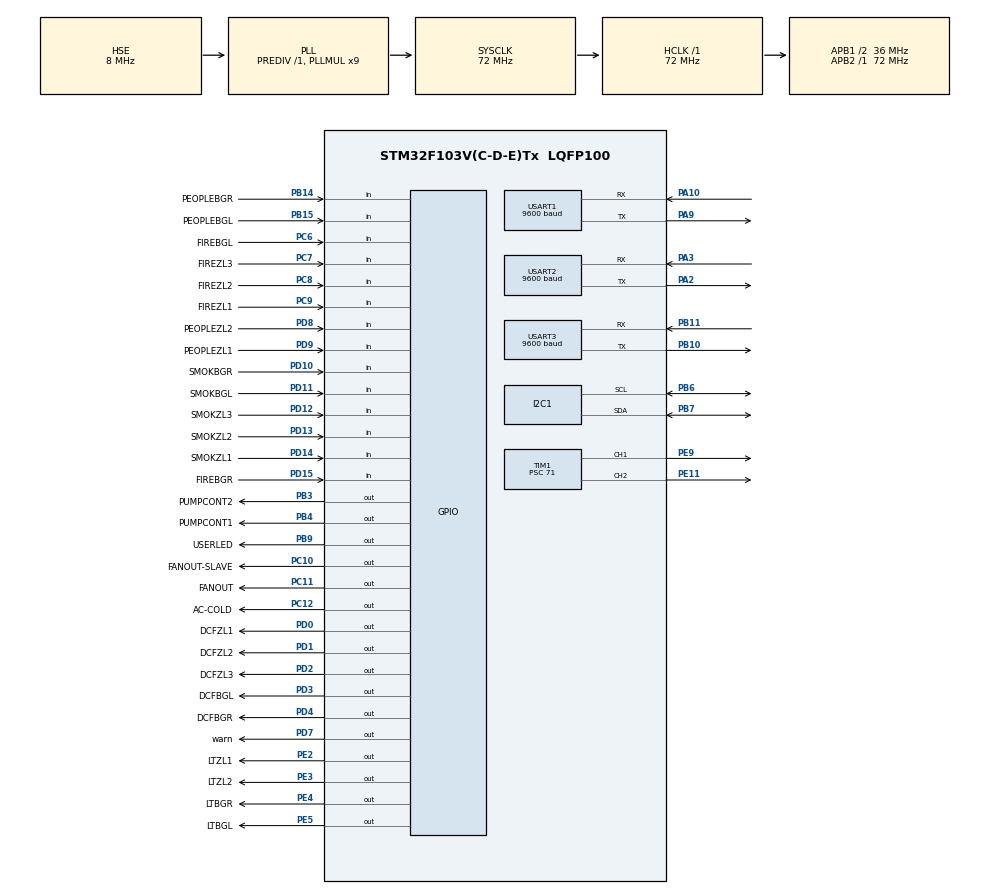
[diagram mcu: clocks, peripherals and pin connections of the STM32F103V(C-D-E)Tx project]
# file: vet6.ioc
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Dma.Request0=USART1_RX
Dma.Request1=USART1_TX
Dma.Request2=USART2_RX
Dma.Request3=USART2_TX
Dma.USART1_RX.0.Direction=DMA_PERIPH_TO_MEMORY
Dma.USART1_RX.0.Instance=DMA1_Channel5
Dma.USART1_RX.0.MemDataAlignment=DMA_MDATAALIGN_BYTE
Dma.USART1_RX.0.MemInc=DMA_MINC_ENABLE
Dma.USART1_RX.0.Mode=DMA_CIRCULAR
Dma.USART1_RX.0.PeriphDataAlignment=DMA_PDATAALIGN_BYTE
Dma.USART1_RX.0.PeriphInc=DMA_PINC_DISABLE
Dma.USART1_RX.0.Priority=DMA_PRIORITY_LOW
Dma.USART1_TX.1.Direction=DMA_MEMORY_TO_PERIPH
Dma.USART1_TX.1.Instance=DMA1_Channel4
Dma.USART1_TX.1.MemDataAlignment=DMA_MDATAALIGN_BYTE
Dma.USART1_TX.1.MemInc=DMA_MINC_ENABLE
Dma.USART1_TX.1.Mode=DMA_NORMAL
Dma.USART1_TX.1.PeriphDataAlignment=DMA_PDATAALIGN_BYTE
Dma.USART1_TX.1.PeriphInc=DMA_PINC_DISABLE
Dma.USART1_TX.1.Priority=DMA_PRIORITY_LOW
Dma.USART2_RX.2.Direction=DMA_PERIPH_TO_MEMORY
Dma.USART2_RX.2.Instance=DMA1_Channel6
Dma.USART2_RX.2.MemDataAlignment=DMA_MDATAALIGN_BYTE
Dma.USART2_RX.2.MemInc=DMA_MINC_ENABLE
Dma.USART2_RX.2.Mode=DMA_CIRCULAR
Dma.USART2_RX.2.PeriphDataAlignment=DMA_PDATAALIGN_BYTE
Dma.USART2_RX.2.PeriphInc=DMA_PINC_DISABLE
Dma.USART2_RX.2.Priority=DMA_PRIORITY_LOW
Dma.USART2_TX.3.Direction=DMA_MEMORY_TO_PERIPH
Dma.USART2_TX.3.Instance=DMA1_Channel7
Dma.USART2_TX.3.MemDataAlignment=DMA_MDATAALIGN_BYTE
Dma.USART2_TX.3.MemInc=DMA_MINC_ENABLE
Dma.USART2_TX.3.Mode=DMA_NORMAL
Dma.USART2_TX.3.PeriphDataAlignment=DMA_PDATAALIGN_BYTE
Dma.USART2_TX.3.PeriphInc=DMA_PINC_DISABLE
Dma.USART2_TX.3.Priority=DMA_PRIORITY_LOW
Mcu.Family=STM32F1
Mcu.Name=STM32F103V(C-D-E)Tx
Mcu.Package=LQFP100
NVIC.DMA1_Channel4_IRQn=true\:0\:0\:false\:false\:true\:false\:true\:true
NVIC.DMA1_Channel5_IRQn=true\:0\:0\:false\:false\:true\:false\:true\:true
NVIC.DMA1_Channel6_IRQn=true\:0\:0\:false\:false\:true\:false\:true\:true
NVIC.DMA1_Channel7_IRQn=true\:0\:0\:false\:false\:true\:false\:true\:true
NVIC.PriorityGroup=NVIC_PRIORITYGROUP_4
NVIC.USART1_IRQn=true\:0\:0\:false\:false\:true\:true\:true\:true
NVIC.USART2_IRQn=true\:0\:0\:false\:false\:true\:true\:true\:true
OSC_IN.Mode=HSE-External-Oscillator
OSC_IN.Signal=RCC_OSC_IN
OSC_OUT.Mode=HSE-External-Oscillator
OSC_OUT.Signal=RCC_OSC_OUT
PA10.Mode=Asynchronous
PA10.Signal=USART1_RX
PA13.Mode=Serial_Wire
PA13.Signal=SYS_JTMS-SWDIO
PA14.Mode=Serial_Wire
PA14.Signal=SYS_JTCK-SWCLK
PA2.Mode=Asynchronous
PA2.Signal=USART2_TX
PA3.Mode=Asynchronous
PA3.Signal=USART2_RX
PA9.Mode=Asynchronous
PA9.Signal=USART1_TX
PB10.Mode=Asynchronous
PB10.Signal=USART3_TX
PB11.Mode=Asynchronous
PB11.Signal=USART3_RX
PB14.GPIO_Label=PEOPLEBGR
PB14.GPIO_PuPd=GPIO_PULLDOWN
PB14.Signal=GPIO_Input
PB15.GPIO_Label=PEOPLEBGL
PB15.GPIO_PuPd=GPIO_PULLDOWN
PB15.Signal=GPIO_Input
PB3.GPIO_Label=PUMPCONT2
PB3.Signal=GPIO_Output
PB4.GPIO_Label=PUMPCONT1
PB4.Signal=GPIO_Output
PB6.Mode=I2C
PB6.Signal=I2C1_SCL
PB7.Mode=I2C
PB7.Signal=I2C1_SDA
PB9.GPIO_Label=USERLED
PB9.Signal=GPIO_Output
PC10.GPIO_Label=FANOUT-SLAVE
PC10.Signal=GPIO_Output
PC11.GPIO_Label=FANOUT
PC11.Signal=GPIO_Output
PC12.GPIO_Label=AC-COLD
PC12.Signal=GPIO_Output
PC6.GPIO_Label=FIREBGL
PC6.GPIO_PuPd=GPIO_PULLUP
PC6.Signal=GPIO_Input
PC7.GPIO_Label=FIREZL3
PC7.GPIO_PuPd=GPIO_PULLUP
PC7.Signal=GPIO_Input
PC8.GPIO_Label=FIREZL2
PC8.GPIO_PuPd=GPIO_PULLUP
PC8.Signal=GPIO_Input
PC9.GPIO_Label=FIREZL1
PC9.GPIO_PuPd=GPIO_PULLUP
PC9.Signal=GPIO_Input
PD0.GPIO_Label=DCFZL1
PD0.Signal=GPIO_Output
PD1.GPIO_Label=DCFZL2
PD1.Signal=GPIO_Output
PD10.GPIO_Label=SMOKBGR
PD10.GPIO_PuPd=GPIO_PULLUP
PD10.Signal=GPIO_Input
PD11.GPIO_Label=SMOKBGL
PD11.GPIO_PuPd=GPIO_PULLUP
PD11.Signal=GPIO_Input
PD12.GPIO_Label=SMOKZL3
PD12.GPIO_PuPd=GPIO_PULLUP
PD12.Signal=GPIO_Input
PD13.GPIO_Label=SMOKZL2
PD13.GPIO_PuPd=GPIO_PULLUP
PD13.Signal=GPIO_Input
PD14.GPIO_Label=SMOKZL1
PD14.GPIO_PuPd=GPIO_PULLUP
PD14.Signal=GPIO_Input
PD15.GPIO_Label=FIREBGR
PD15.GPIO_PuPd=GPIO_PULLUP
PD15.Signal=GPIO_Input
PD2.GPIO_Label=DCFZL3
PD2.Signal=GPIO_Output
PD3.GPIO_Label=DCFBGL
PD3.Signal=GPIO_Output
PD4.GPIO_Label=DCFBGR
PD4.Signal=GPIO_Output
PD7.GPIO_Label=warn
PD7.Signal=GPIO_Output
PD8.GPIO_Label=PEOPLEZL2
PD8.GPIO_PuPd=GPIO_PULLDOWN
PD8.Signal=GPIO_Input
PD9.GPIO_Label=PEOPLEZL1
PD9.GPIO_PuPd=GPIO_PULLDOWN
PD9.Signal=GPIO_Input
PE11.Signal=S_TIM1_CH2
PE2.GPIO_Label=LTZL1
PE2.Signal=GPIO_Output
PE3.GPIO_Label=LTZL2
PE3.Signal=GPIO_Output
PE4.GPIO_Label=LTBGR
PE4.Signal=GPIO_Output
PE5.GPIO_Label=LTBGL
PE5.Signal=GPIO_Output
PE9.Signal=S_TIM1_CH1
ProjectManager.HeapSize=0x200
ProjectManager.StackSize=0x400
ProjectManager.TargetToolchain=MDK-ARM V5
RCC.AHBFreq_Value=72000000
RCC.APB1CLKDivider=RCC_HCLK_DIV2
RCC.APB1Freq_Value=36000000
RCC.APB1TimFreq_Value=72000000
RCC.APB2Freq_Value=72000000
RCC.APB2TimFreq_Value=72000000
RCC.HCLKFreq_Value=72000000
RCC.PLLMUL=RCC_PLL_MUL9
RCC.PLLSourceVirtual=RCC_PLLSOURCE_HSE
RCC.SYSCLKFreq_VALUE=72000000
RCC.SYSCLKSource=RCC_SYSCLKSOURCE_PLLCLK
RCC.USBFreq_Value=72000000
SH.S_TIM1_CH1.0=TIM1_CH1,PWM Generation1 CH1
SH.S_TIM1_CH2.0=TIM1_CH2,PWM Generation2 CH2
TIM1.AutoReloadPreload=TIM_AUTORELOAD_PRELOAD_ENABLE
TIM1.Channel-PWM\ Generation1\ CH1=TIM_CHANNEL_1
TIM1.Channel-PWM\ Generation2\ CH2=TIM_CHANNEL_2
TIM1.Period=1000
TIM1.Prescaler=71
TIM1.Pulse-PWM\ Generation1\ CH1=500
TIM1.Pulse-PWM\ Generation2\ CH2=500
TIM2.Prescaler=71
USART1.BaudRate=9600
USART1.VirtualMode=VM_ASYNC
USART2.BaudRate=9600
USART2.VirtualMode=VM_ASYNC
USART3.BaudRate=9600
USART3.VirtualMode=VM_ASYNC
VP_TIM1_VS_ClockSourceINT.Mode=Internal
VP_TIM2_VS_ClockSourceINT.Mode=Internal
board=custom

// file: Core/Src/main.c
/* USER CODE BEGIN Header */
/**盗版的人我操你妈逼，剽窃者死爹死妈，你妈炸了，祝你延毕死全家，我操你妈的。傻逼
 ******************************************************************************
 * @file           : main.c
 * @brief          : Main program body
 ******************************************************************************
 * @attention
 *
 * Copyright (c) 2024 STMicroelectronics.
 * All rights reserved.
 * daobanwocaonima
 * The ownership of the program belongs to Song Nan, please stop your piracy.
 * Piracy is not a good death, dead parents die, dead whole family.
 * Some secret, equivalent to a watermark.
 * https://pan.baidu.com/s/1uRYBI3bAJ5pFQhadPV13AQ?pswd=8fsg.
 ******************************************************************************
 */
/* USER CODE END Header */
#include "main.h"
#include "dma.h"
#include "i2c.h"
#include "tim.h"
#include "usart.h"
#include "gpio.h"

/* USER CODE BEGIN Includes */
#include <security.h>
#include <youseeme.mp3>
#include <lsy.h>
#include <lisiyu.iloveyou>
#define ADDR_24LCxx_Write 0xA0
#define ADDR_24LCxx_Read 0xA1
#define BufferSize 256
uint8_t WriteBuffer[BufferSize], ReadBuffer[BufferSize];
uint16_t i;
/* USER CODE END Includes */

/* USER CODE BEGIN PTD */
unsigned int temp, humi, tempout, humiout; // 室内外温湿度
long numctrl, numact, numeco, numwhether, numwind1, numwind2;
char *leftover, *leftover2, *leftover3, *leftover4;
// 控制 空调   ， 小时（用于节能）,  1天气+1湿度+2天气+2湿度   1风向+风速
char *leftover5, *leftover6, *leftover7, *leftover8, *leftover9, *leftover10, *leftover11, *leftover12;
//  2风向+风速         1低温   ,    1高温，     2低温      2高温      wifi状态    点灯科技状态   时间
char *slpover, *slpover2; // 太阳能没啥说的
char showtime[16];
u8 fireloca;                                                      // 火警置位，用于灯光控制
/*000*/ u8 firetest1, firetest2, firetest3, firetest4, firetest5; //
// 用于如果有着火就置为1，程序从上往下，当全部为0时给关闭提示，此时将上面fireloca归0，关闭火灾指示
u8 ledtwinkle;
int pumpdelay = 10;
int ToBlinkerWeCom = 0; // 发给点灯科技、巴法云、企业微信的数据量信息（780e也通过这个数据流）数据信息介绍在下面
/////////////发送的数据信息，格式为0 0 0 0 0 0 0 0 0
///////////////从低位到高位分别为走廊1，走廊2，走廊3，办公1，办公2，太阳能。前三位如果是119，代表报警。
///////////////暂时先这么用，如果后期有其他想法再说，目前打算在里面加一个发电量显示，实时显示电能质量。
///////////////////xxxxx   1   1   1   1   1   1
///////////////////发电量
//////////////（已实现esp接收字符串可以使用printf
///////////////例子：00100100 111，前六位是ToBlinkerWeCom,加上“ ”后面是发电量）
char sendcontrol[13];
int solarpowernum; // 太阳能发电量最高999
double slpshow;    // （太阳能显示，需要将整数转换成小数）
int solarwork;     // 太阳能工作指示
int sendcount;     // 延时发送专用
int whtese;        // 天气测试
int oledroll;      // 显示平滚动翻页
int window, wifiti, blinker, hand;
int ii;
/* USER CODE END PTD */

/* USER CODE BEGIN PD */
typedef struct
{
  int zuigaowendu;
  int zuidiwendu;
  int shidu;
  int tianqitubiao;
  int fengjiaodu;
  int dengji;

} tianqixinxi; // 高温最低温和湿度的结构体

tianqixinxi day1, day2;
/* USER CODE END PD */

/* USER CODE BEGIN PM */
#define BUFFERSIZE 80            // 串口1可以接收的最大字符个数
uint8_t ReceiveBuff[BUFFERSIZE]; // 串口1接收缓冲区
uint8_t Rx_len;                  // 串口1接收完成中断标志，接收到字符长度
extern DMA_HandleTypeDef hdma_usart1_rx;

#define BUFFERSIZE2 80             // 串口2可以接收的最大字符个数
uint8_t ReceiveBuff2[BUFFERSIZE2]; // 串口2接收缓冲区
uint8_t Rx_len2;                   // 串口2接收完成中断标志，接收到字符长度
extern DMA_HandleTypeDef hdma_usart2_rx;
#ifndef youseeme
#error "必要的注释被删除了，程序无法编译。请不要盗版程序"
#endif

/* USER CODE END PM */

void SystemClock_Config(void);

/* USER CODE BEGIN 0 */
void workshow(void) // 工作显示
{
  if (oledroll < 15) // 第一页显示连接状态
  {
    if (window == 0)
    {
      OLED_Clear();
      window = 1;
    }
    showwifiwr(0, wifiti);
    showblinker(2, blinker);
    OLED_ShowCHinese(0, 4, 79);  // 太
    OLED_ShowCHinese(16, 4, 80); // 阳
    OLED_ShowCHinese(32, 4, 81); // 能
    OLED_ShowCHinese(48, 4, 85); // ：
    if (solarwork == 0)
    {
      OLED_ShowString(64, 4, "error", 16);
    }
    else if (solarwork == 1)
    {
      OLED_ShowString(64, 4, "close", 16);
    }
    else if (solarwork == 2)
    {
      OLED_ShowString(64, 4, "  ok ", 16);
    }
    OLED_ShowCHinese(0, 6, 82);
    OLED_ShowCHinese(16, 6, 83);
    OLED_ShowCHinese(32, 6, 84);
    OLED_Show6float(48, 6, slpshow, 16);//发电量
    //      OLED_ShowCHinese (0,6,99);
    //      OLED_ShowCHinese (16,6,100);
    //      OLED_ShowCHinese (32,6,101);
    //      OLED_ShowCHinese (48,6,102);
    //      OLED_ShowCHinese (64,6,103);
    //      OLED_ShowCHinese (80,6,104);
    //      OLED_ShowCHinese (96,6,105);
  }
  if (oledroll >= 15 && oledroll < 30) // 第二页显示今天天气预报
  {
    if (window == 1)
    {
      OLED_Clear();
      window = 0;
    }
    OLED_ShowString(0, 0, (unsigned char *)shandiaokongge(showtime), 16);
    OLED_ShowCHinese(0, 2, 86);
    OLED_ShowCHinese(16, 2, 88);
    OLED_ShowCHinese(32, 2, 85);
    WhetherReport(48, 2, day1.tianqitubiao);
    OLED_ShowCHinese(0, 4, 89);
    OLED_ShowCHinese(16, 4, 98);
    OLED_ShownNum(32, 4, day1.zuidiwendu, 2, 16);
    OLED_ShowChar(56, 4, '-', 16);
    OLED_ShownNum(64, 4, day1.zuigaowendu, 2, 16);
    OLED_ShowChar(88, 4, 'C', 16);
    Winddirection(0, 6, day1.fengjiaodu);
    OLED_ShowNum(48, 6, day1.dengji, 2, 16);
    OLED_ShowCHinese(64, 6, 95);
  }
  if (oledroll >= 30 && oledroll < 45) // 第三页显示明天天气预报
  {
    if (window == 0)
    {
      OLED_Clear();
      window = 1;
    }
    OLED_ShowString(0, 0, (unsigned char *)shandiaokongge(showtime), 16);
    OLED_ShowCHinese(0, 2, 87);
    OLED_ShowCHinese(16, 2, 88);
    OLED_ShowCHinese(32, 2, 85);
    WhetherReport(48, 2, day2.tianqitubiao);
    OLED_ShowCHinese(0, 4, 89);
    OLED_ShowCHinese(16, 4, 98);
    OLED_ShownNum(32, 4, day2.zuidiwendu, 2, 16);
    OLED_ShowChar(56, 4, '-', 16);
    OLED_ShownNum(64, 4, day2.zuigaowendu, 2, 16);
    OLED_ShowChar(88, 4, 'C', 16);
    Winddirection(0, 6, day2.fengjiaodu);
    OLED_ShowNum(48, 6, day2.dengji, 2, 16);
    OLED_ShowCHinese(64, 6, 95);
  }
  if (oledroll >= 45 && oledroll < 60) // 第四页显示温湿度检测和空调
  {
    if (window == 1)
    {
      OLED_Clear();
      window = 0;
    }
    OLED_ShowString(0, 0, (unsigned char *)shandiaokongge(showtime), 16);
    OLED_ShowCHinese(0, 2, 126);  // 空
    OLED_ShowCHinese(16, 2, 127); // 调
    OLED_ShowCHinese(32, 2, 128); // 温
    OLED_ShowCHinese(48, 2, 129); // 度
    OLED_ShowNum(64, 2, numact, 2, 16);
    OLED_ShowCHinese(0, 4, 122);  // 室
    OLED_ShowCHinese(16, 4, 123); // 内
    OLED_ShowCHinese(32, 4, 98);  // 温
    OLED_ShowCHinese(48, 4, 91);  // 度
    OLED_ShowNum(64, 4, temp, 2, 16);
    OLED_ShowCHinese(80, 4, 90); // 湿
    OLED_ShowCHinese(96, 4, 91); // 度
    OLED_ShowNum(112, 4, humi, 2, 16);
    OLED_ShowCHinese(0, 6, 124);  // 户
    OLED_ShowCHinese(16, 6, 125); // 外
    OLED_ShowCHinese(32, 6, 98);  // 温
    OLED_ShowCHinese(48, 6, 91);  // 度
    OLED_ShowNum(64, 6, tempout, 2, 16);
    OLED_ShowCHinese(80, 6, 90); // 湿
    OLED_ShowCHinese(96, 6, 91); // 度
    OLED_ShowNum(112, 6, humiout, 2, 16);
  }
  if (oledroll >= 60) // 循环清空
  {
    oledroll = 0;
    window = 0;
  }
}
void conversion(void) // 数据读取
{
  DH11_Task();                    // 温湿度传感器室内检测
  DH11_Task2();                   // 户外温湿度传感器
  temp = DH11_data.temp;          // 室内温度
  humi = DH11_data.humidity;      // 室内湿度
  tempout = DH11_data2.temp2;     // 户外温度
  humiout = DH11_data2.humidity2; // 户外湿度
  // long numctrl, numact,numeco,numwhether,numwind,numdw,numgw;
  numctrl = strtoul((const char *)ReceiveBuff, &leftover, 10); // 提取点灯科技控制
  numact = strtoul(leftover, &leftover2, 10);                  // 提取空调控制
  numeco = strtoul(leftover2, &leftover3, 10);                 // 提取小时时间控制（用于灯光定时）
  numwhether = strtoul(leftover3, &leftover4, 10);             // 提取天气数据（今天明天天气+2天湿度）
  numwind1 = strtoul(leftover4, &leftover5, 10);               // 提取风速数据（今天风向等级）
  numwind2 = strtoul(leftover5, &leftover6, 10);               // 提取风速数据（明天风向等级）
  day1.zuidiwendu = strtoul(leftover6, &leftover7, 10);        // 提取今天高温数据
  day1.zuigaowendu = strtoul(leftover7, &leftover8, 10);       // 提取今天低温数据
  day2.zuidiwendu = strtoul(leftover8, &leftover9, 10);        // 提取明天高温数据
  day2.zuigaowendu = strtoul(leftover9, &leftover10, 10);      // 提取明天低温数据
  wifiti = strtoul(leftover10, &leftover11, 10);               // 提取wifi状态
  blinker = strtoul(leftover11, &leftover12, 10);              // 提取点灯科技状态
  //		if(leftover3[strlen(leftover3)-1] == '\n') {
  //				leftover3[strlen(leftover3)-1] = '\0';
  //		}//(删掉末尾\n)
  strncpy(showtime, leftover12, 15); // 时间复制到安全区然后刷新在屏幕上
  // 接收储存和数据读取结束^
  // 开始数据提取,主要将天气预报存放到结构体v
  day1.tianqitubiao = numwhether / 1000000;
  day1.shidu = numwhether / 10000 % 100;
  day2.tianqitubiao = numwhether / 100 % 100;
  day2.shidu = numwhether % 100;
  day1.fengjiaodu = numwind1 / 100;
  day1.dengji = numwind1 % 100;
  day2.fengjiaodu = numwind2 / 100;
  day2.dengji = numwind2 % 100;
  solarwork = strtoul((const char *)ReceiveBuff2, &slpover, 10); // 提取太阳能
  solarpowernum = strtoul(slpover, &slpover2, 10);               // 提取发电量12345678=====1234.5678
  if(solarpowernum>494950000)
  {
    solarpowernum=494950000;//限制，防止溢出
  }
  slpshow = solarpowernum * 1.0000 / 10000;
  //*dma发送的代码发送数据，目前是串口2
  //*例子代码HAL_UART_Transmit_DMA(&huart2, (uint8_t *)ReceiveBuff, sizeof(ReceiveBuff));
  // ToBlinkerWeCom=1236100000;//测试实例126100000为发电量126，太阳能正常，区域正常
  // HAL_UART_Transmit_DMA(&huart2, "HELL0", 6);	//串口发送（串口3连接企业微信）
}
void at24c02test(void) // 存储测试
{
  for (i = 0; i < 256; i++)
    WriteBuffer[i] = 'n'; /* WriteBuffer init */

  printf("\r\n***************I2C Example Z小旋测试*******************************\r\n");
  for (int j = 0; j < 32; j++)
  {
    if (HAL_I2C_Mem_Write(&hi2c1, ADDR_24LCxx_Write, 8 * j, I2C_MEMADD_SIZE_8BIT, WriteBuffer + 8 * j, 8, 1000) == HAL_OK)
    {
      printf("\r\n EEPROM 24C02 Write Test OK \r\n");
      HAL_Delay(20);
    }
    else
    {
      HAL_Delay(20);
      printf("\r\n EEPROM 24C02 Write Test False \r\n");
    }
  }
  /*
  // wrinte date to EEPROM   如果要一次写一个字节，写256次，用这里的代码
  for(i=0;i<BufferSize;i++)
  {
      HAL_I2C_Mem_Write(&hi2c1, ADDR_24LCxx_Write, i, I2C_MEMADD_SIZE_8BIT,&WriteBuffer[i],1，0xff);//使用I2C块读，出错。因此采用此种方式，逐个单字节写入
    HAL_Delay(5);//此处延时必加，与AT24C02写时序有关
  }
  printf("\r\n EEPROM 24C02 Write Test OK \r\n");
  */

  HAL_I2C_Mem_Read(&hi2c1, ADDR_24LCxx_Read, 0, I2C_MEMADD_SIZE_8BIT, ReadBuffer, BufferSize, 0xff);

  for (i = 0; i < 256; i++)
    // printf("0x%02X  ",ReadBuffer[i]);
    printf("%c  ", ReadBuffer[i]);
}
/* USER CODE END 0 */

int main(void)
{

  /* MCU Configuration--------------------------------------------------------*/

  /* Reset of all peripherals, Initializes the Flash interface and the Systick. */
  HAL_Init();

  /* USER CODE BEGIN Init */
  // 测试发送数组uint8_t Senbuff[] = "\r\n**** Serial Output Message by DMA ***\r\n   UART DMA Test \r\n   LI Siyu";
  /* USER CODE END Init */

  /* Configure the system clock */
  SystemClock_Config();

  /* Initialize all configured peripherals */
  MX_GPIO_Init();
  MX_DMA_Init();
  MX_I2C1_Init();
  MX_TIM2_Init();
  MX_USART1_UART_Init();
  MX_USART2_UART_Init();
  MX_USART3_UART_Init();
  MX_TIM1_Init();
  /* USER CODE BEGIN 2 */
  HAL_GPIO_WritePin(GPIOB, GPIO_PIN_9, GPIO_PIN_RESET); // 工作指示灯
  HAL_Delay(3000);
  OLED_Init();
  OLED_Clear();
  // 串口一区域改写
  __HAL_UART_ENABLE_IT(&huart1, UART_IT_IDLE); // 使能串口1 IDLE中断
  /*第二个参数目前为数组 如果为变量需要加取地址符*/
  HAL_UART_Receive_DMA(&huart1, ReceiveBuff, BUFFERSIZE); // 使能接收
  // 串口二区域改写
  __HAL_UART_ENABLE_IT(&huart2, UART_IT_IDLE); // 使能串口1 IDLE中断
  /*第二个参数目前为数组 如果为变量需要加取地址符*/
  HAL_UART_Receive_DMA(&huart2, ReceiveBuff2, BUFFERSIZE2); // 使能接收
  HAL_TIM_PWM_Start(&htim1, TIM_CHANNEL_2);                 // 水泵pwm

  // 打开初始化在这
  initialize();
  for (ii = 0; ii < 20; ii++) // 获取数据稳定
  {
    numctrl = strtoul((const char *)ReceiveBuff, &leftover, 10); // 提取点灯科技控制
    numact = strtoul(leftover, &leftover2, 10);                  // 提取空调控制
    numeco = strtoul(leftover2, &leftover3, 10);                 // 提取小时时间控制（用于灯光定时）
    numwhether = strtoul(leftover3, &leftover4, 10);             // 提取天气数据（今天明天天气+2天湿度）
    numwind1 = strtoul(leftover4, &leftover5, 10);               // 提取风速数据（今天风向等级）
    numwind2 = strtoul(leftover5, &leftover6, 10);               // 提取风速数据（明天风向等级）
    day1.zuidiwendu = strtoul(leftover6, &leftover7, 10);        // 提取今天高温数据
    day1.zuigaowendu = strtoul(leftover7, &leftover8, 10);       // 提取今天低温数据
    day2.zuidiwendu = strtoul(leftover8, &leftover9, 10);        // 提取明天高温数据
    day2.zuigaowendu = strtoul(leftover9, &leftover10, 10);      // 提取明天低温数据
    wifiti = strtoul(leftover10, &leftover11, 10);               // 提取wifi状态
    blinker = strtoul(leftover11, &leftover12, 10);              // 提取点灯科技状态
    HAL_Delay(500);
    DH11_Task();  // 温湿度传感器室内检测
    DH11_Task2(); // 户外温湿度传感器
    OLED_ShowNum(112, 2, ii, 2, 16);
    showwifiwr(4, wifiti);
    showblinker(6, blinker);
  }
  OLED_Clear();
  // at24c02test();
  /* USER CODE END 2 */

  /* Infinite loop */
  /* USER CODE BEGIN WHILE */
  while (1)
  {

    HAL_GPIO_TogglePin(USERLED_GPIO_Port, USERLED_Pin); // 工作指示
    conversion();
    workshow();
    if (temp > numact) //&&tempout>temp)//空调
    {
      HAL_GPIO_WritePin(FANOUT_GPIO_Port, FANOUT_Pin, GPIO_PIN_RESET);
      HAL_GPIO_WritePin(AC_COLD_GPIO_Port, AC_COLD_Pin, GPIO_PIN_RESET);
    }
    else
    {
      HAL_GPIO_WritePin(FANOUT_GPIO_Port, FANOUT_Pin, GPIO_PIN_SET);
      HAL_GPIO_WritePin(AC_COLD_GPIO_Port, AC_COLD_Pin, GPIO_PIN_SET);
    }

    //			solarpowernum++;(先不用了)
    //			if(solarpowernum>999)solarpowernum=999;
    ledtwinkle++;
    sendcount++;
    oledroll++;
#ifndef stcurity
#error "必要的注释被删除了，程序无法编译。请不要盗版程序。"
#endif

    /**
     * 从这里开始到下一个标志，这片区域是关于着火有关的执行程序
     * FIREZL1  火焰检测
     * SMOKZL1  烟雾检测
     * DCFZL1   启动电磁阀
     * 由于程序并行，任意一个着火fireloca会被置为1，将在下一个这种注释的标志处被重置。。。
     */
    if (HAL_GPIO_ReadPin(FIREZL1_GPIO_Port, FIREZL1_Pin) == 0 && HAL_GPIO_ReadPin(SMOKZL1_GPIO_Port, SMOKZL1_Pin) == 0)
    {
      ToBlinkerWeCom = setDigit(ToBlinkerWeCom, 0, 1);
      fireloca = 1;
      HAL_GPIO_WritePin(DCFZL1_GPIO_Port, DCFZL1_Pin, GPIO_PIN_RESET);
      firetest1 = 1;
    } // 走廊1着火双保险,如果触发，置位为1，同时开启对应区域电磁阀
    else
    {
      ToBlinkerWeCom = setDigit(ToBlinkerWeCom, 0, 0);
      HAL_GPIO_WritePin(DCFZL1_GPIO_Port, DCFZL1_Pin, GPIO_PIN_SET);
      firetest1 = 0;
    } // 火灭了，阀门关闭，置位为0

    if (HAL_GPIO_ReadPin(FIREZL2_GPIO_Port, FIREZL2_Pin) == 0 && HAL_GPIO_ReadPin(SMOKZL2_GPIO_Port, SMOKZL2_Pin) == 0)
    {
      ToBlinkerWeCom = setDigit(ToBlinkerWeCom, 1, 1);
      fireloca = 1;
      HAL_GPIO_WritePin(DCFZL2_GPIO_Port, DCFZL2_Pin, GPIO_PIN_RESET);
      firetest2 = 1;
    } // 走廊2着火双保险
    else
    {
      ToBlinkerWeCom = setDigit(ToBlinkerWeCom, 1, 0);
      HAL_GPIO_WritePin(DCFZL2_GPIO_Port, DCFZL2_Pin, GPIO_PIN_SET);
      firetest2 = 0;
    }

    if (HAL_GPIO_ReadPin(FIREZL3_GPIO_Port, FIREZL3_Pin) == 0 && HAL_GPIO_ReadPin(SMOKZL3_GPIO_Port, SMOKZL3_Pin) == 0)
    {
      ToBlinkerWeCom = setDigit(ToBlinkerWeCom, 2, 1);
      fireloca = 1;
      HAL_GPIO_WritePin(DCFZL3_GPIO_Port, DCFZL3_Pin, GPIO_PIN_RESET);
      firetest3 = 1;
    } // 走廊3着火双保险
    else
    {
      ToBlinkerWeCom = setDigit(ToBlinkerWeCom, 2, 0);
      HAL_GPIO_WritePin(DCFZL3_GPIO_Port, DCFZL3_Pin, GPIO_PIN_SET);
      firetest3 = 0;
    }

    if (HAL_GPIO_ReadPin(FIREBGL_GPIO_Port, FIREBGL_Pin) == 0 && HAL_GPIO_ReadPin(SMOKBGL_GPIO_Port, SMOKBGL_Pin) == 0)
    {
      ToBlinkerWeCom = setDigit(ToBlinkerWeCom, 3, 1);
      fireloca = 1;
      HAL_GPIO_WritePin(DCFBGL_GPIO_Port, DCFBGL_Pin, GPIO_PIN_RESET);
      firetest4 = 1;
    } // 办公左着火双保险
    else
    {
      ToBlinkerWeCom = setDigit(ToBlinkerWeCom, 3, 0);
      HAL_GPIO_WritePin(DCFBGL_GPIO_Port, DCFBGL_Pin, GPIO_PIN_SET);
      firetest4 = 0;
    }

    if (HAL_GPIO_ReadPin(FIREBGR_GPIO_Port, FIREBGR_Pin) == 0 && HAL_GPIO_ReadPin(SMOKBGR_GPIO_Port, SMOKBGR_Pin) == 0)
    {
      ToBlinkerWeCom = setDigit(ToBlinkerWeCom, 4, 1);
      fireloca = 1;
      HAL_GPIO_WritePin(DCFBGR_GPIO_Port, DCFBGR_Pin, GPIO_PIN_SET);
      firetest5 = 1;
    } // 办公右着火双保险
    else
    {
      ToBlinkerWeCom = setDigit(ToBlinkerWeCom, 4, 0);
      HAL_GPIO_WritePin(DCFBGR_GPIO_Port, DCFBGR_Pin, GPIO_PIN_RESET);
      firetest5 = 0;
    }
    if(solarwork==0)
    {
      ToBlinkerWeCom = setDigit(ToBlinkerWeCom, 5, 1); //(太阳能备用)
    }
    else
    {
      ToBlinkerWeCom = setDigit(ToBlinkerWeCom, 5, 0); //(太阳能备用)
    }

    /**
     * 从这里开始到下一个标志，这片区域负责将上一片区域的fireloca改为0
     * 效果：USER CODE BEGIN PTD 000处的firetest作用再此
     * 如果全是0代表没有火灾，将fireloca改为0
     *
     */
    if (firetest1 || firetest2 || firetest3 || firetest4 || firetest5)
    {
    }
    else
    {
      fireloca = 0;
    }
    /**
     * 从这里开始到下一个标志，这片区域是关于灯光的控
     * 效果：如果着火，标志位fireloca为1，启动所有灯光，否则执行手动或者safety_light();自动灯光
     *
     *
     */
    if (fireloca == 0 && hand == 0) // 当检测到没有火灾时候，执行正常开关灯流程
    {
      if (numctrl != 0) // 手动控制
      {
        if (numctrl / 10 % 10 == 1)
        {
          HAL_GPIO_WritePin(LTZL1_GPIO_Port, LTZL1_Pin, GPIO_PIN_RESET);
        }
        else
        {
          HAL_GPIO_WritePin(LTZL1_GPIO_Port, LTZL1_Pin, GPIO_PIN_SET);
        } /////////////////////////////////////////////////////////////////
        if (numctrl / 100 % 10 == 1)
        {
          HAL_GPIO_WritePin(LTZL2_GPIO_Port, LTZL2_Pin, GPIO_PIN_RESET);
        }
        else
        {
          HAL_GPIO_WritePin(LTZL2_GPIO_Port, LTZL2_Pin, GPIO_PIN_SET);
        } /////////////////////////////////////////////////////////
        if (numctrl / 1000 % 10 == 1)
        {
          HAL_GPIO_WritePin(LTBGL_GPIO_Port, LTBGL_Pin, GPIO_PIN_RESET);
        }
        else
        {
          HAL_GPIO_WritePin(LTBGL_GPIO_Port, LTBGL_Pin, GPIO_PIN_SET);
        } ////////////////////////////////////////////////////////////////
        if (numctrl / 10000 % 10 == 1)
        {
          HAL_GPIO_WritePin(LTBGR_GPIO_Port, LTBGR_Pin, GPIO_PIN_RESET);
        }
        else
        {
          HAL_GPIO_WritePin(LTBGR_GPIO_Port, LTBGR_Pin, GPIO_PIN_SET);
        }
      }
      else
      {
        safety_light(numeco);
      }                                                          // 自动控制
      HAL_GPIO_WritePin(warn_GPIO_Port, warn_Pin, GPIO_PIN_SET); // （警报关闭）
      pumpdelay = 10;
      HAL_GPIO_WritePin(PUMPCONT1_GPIO_Port, PUMPCONT1_Pin, GPIO_PIN_RESET); // （水泵全关）
      HAL_GPIO_WritePin(PUMPCONT2_GPIO_Port, PUMPCONT2_Pin, GPIO_PIN_RESET); // （水泵全关）
      __HAL_TIM_SET_COMPARE(&htim1, TIM_CHANNEL_2, 000);                     // （转速归零）
    }
    if (fireloca == 1) // 着火了，所有灯全开,
    {
      HAL_GPIO_WritePin(LTZL1_GPIO_Port, LTZL1_Pin, GPIO_PIN_RESET);
      HAL_GPIO_WritePin(LTZL2_GPIO_Port, LTZL2_Pin, GPIO_PIN_RESET);
      HAL_GPIO_WritePin(LTBGL_GPIO_Port, LTBGL_Pin, GPIO_PIN_RESET);
      HAL_GPIO_WritePin(LTBGR_GPIO_Port, LTBGR_Pin, GPIO_PIN_RESET);
      HAL_GPIO_WritePin(warn_GPIO_Port, warn_Pin, GPIO_PIN_RESET); // （警报开启，继电器低电触发）
      pumpdelay--;
      if (pumpdelay == 0)
      {
        HAL_GPIO_WritePin(PUMPCONT1_GPIO_Port, PUMPCONT1_Pin, GPIO_PIN_SET);   // （水泵开启）
        HAL_GPIO_WritePin(PUMPCONT2_GPIO_Port, PUMPCONT2_Pin, GPIO_PIN_RESET); // （水泵开启）
        __HAL_TIM_SET_COMPARE(&htim1, TIM_CHANNEL_2, 900);                     // （开启转速）
        pumpdelay = 1;
      }
    }
    if (sendcount == 4) // 数据上传云端
    {
      printf("%09d %d\r\n", ToBlinkerWeCom, solarpowernum);                                  // 重定义目前定义的是串口1(发点灯科技)!!!!! 太阳能要处理
      sprintf(sendcontrol, "%d", ToBlinkerWeCom);                                            // 控制数字转换字符串
      strcat(sendcontrol, "\r\n");                                                           // 拼接\r\n
      HAL_UART_Transmit(&huart3, (unsigned char *)sendcontrol, sizeof(sendcontrol), 0xffff); // 串口3发给企业微信
      sendcount = 0;
    }
    /* USER CODE END WHILE */

  }
}

void SystemClock_Config(void)
{
  RCC_OscInitTypeDef RCC_OscInitStruct = {0};
  RCC_ClkInitTypeDef RCC_ClkInitStruct = {0};

  /** Initializes the RCC Oscillators according to the specified parameters
   * in the RCC_OscInitTypeDef structure.
   */
  RCC_OscInitStruct.OscillatorType = RCC_OSCILLATORTYPE_HSE;
  RCC_OscInitStruct.HSEState = RCC_HSE_ON;
  RCC_OscInitStruct.HSEPredivValue = RCC_HSE_PREDIV_DIV1;
  RCC_OscInitStruct.HSIState = RCC_HSI_ON;
  RCC_OscInitStruct.PLL.PLLState = RCC_PLL_ON;
  RCC_OscInitStruct.PLL.PLLSource = RCC_PLLSOURCE_HSE;
  RCC_OscInitStruct.PLL.PLLMUL = RCC_PLL_MUL9;
  if (HAL_RCC_OscConfig(&RCC_OscInitStruct) != HAL_OK)
  {
    Error_Handler();
  }

  /** Initializes the CPU, AHB and APB buses clocks
   */
  RCC_ClkInitStruct.ClockType = RCC_CLOCKTYPE_HCLK | RCC_CLOCKTYPE_SYSCLK | RCC_CLOCKTYPE_PCLK1 | RCC_CLOCKTYPE_PCLK2;
  RCC_ClkInitStruct.SYSCLKSource = RCC_SYSCLKSOURCE_PLLCLK;
  RCC_ClkInitStruct.AHBCLKDivider = RCC_SYSCLK_DIV1;
  RCC_ClkInitStruct.APB1CLKDivider = RCC_HCLK_DIV2;
  RCC_ClkInitStruct.APB2CLKDivider = RCC_HCLK_DIV1;

  if (HAL_RCC_ClockConfig(&RCC_ClkInitStruct, FLASH_LATENCY_2) != HAL_OK)
  {
    Error_Handler();
  }
}

/* USER CODE BEGIN 4 */
#ifndef NECESSARY_COMMENT_PRESENT
#error "必要的注释被删除了，程序无法编译。请不要盗版程序。"
#endif
/* USER CODE END 4 */

void Error_Handler(void)
{
  __disable_irq();
  while (1)
  {
  }
}
